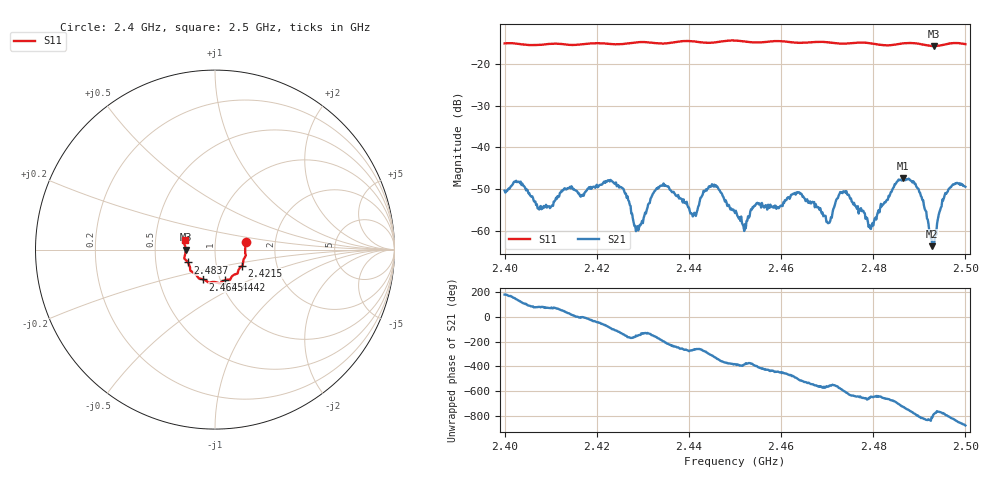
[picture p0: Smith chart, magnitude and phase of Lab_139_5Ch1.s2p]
# Hz S RI R 50
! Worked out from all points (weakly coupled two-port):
!   601 points, 2.4 GHz to 2.5 GHz, reference 50 ohm
!   highest |S21| = -47.32 dB at 2.4865 GHz (marker M1); lowest = -63.7 dB at 2.4928 GHz (marker M2)
!   lowest |S11| = -15.7 dB at 2.4932 GHz (marker M3), VSWR 1.39, Z = 36 - j0.0509 ohm
!   |S11| at or under -10 dB: start of sweep to end of sweep
!   S12 and S22 are empty: the file has one direction only
!   S11 on the Smith chart (normalised r, x): 2.4 GHz: 1.41, +0.12; 2.4215 GHz: 1.33, -0.25; 2.4442 GHz: 1.05, -0.37; 2.4645 GHz: 0.83, -0.29; 2.4837 GHz: 0.73, -0.11; 2.5 GHz: 0.71, +0.07
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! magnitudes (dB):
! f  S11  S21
! 2.4 GHz  -15.1  -50.4
! 2.4167 GHz  -15.3  -51.5
! 2.4215 GHz  -15.1  -48.3
! 2.4258 GHz  -15.2  -50.1
! 2.4287 GHz  -14.8  -59.4
! 2.4333 GHz  -15.1  -49.6
! 2.441 GHz  -14.6  -56.3
! 2.4442 GHz  -15.0  -49.8
! 2.45 GHz  -14.4  -55.8
! 2.4645 GHz  -15.0  -51.3
! 2.4667 GHz  -14.8  -53.2
! 2.4703 GHz  -14.9  -58.1
! 2.474 GHz  -15.1  -50.9
! 2.4795 GHz  -15.1  -59.6
! 2.4833 GHz  -15.6  -51.7
! 2.4837 GHz  -15.5  -51.2
! 2.4865 GHz  -15.1  -47.3
! 2.4897 GHz  -15.2  -49.8
! 2.4928 GHz  -15.7  -63.7
! 2.4932 GHz  -15.7  -63.2
! 2.496 GHz  -15.2  -50.8
! 2.5 GHz  -15.3  -49.5
